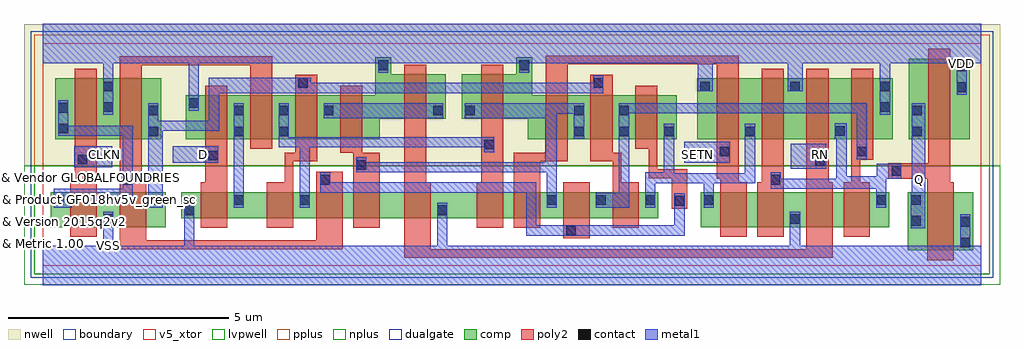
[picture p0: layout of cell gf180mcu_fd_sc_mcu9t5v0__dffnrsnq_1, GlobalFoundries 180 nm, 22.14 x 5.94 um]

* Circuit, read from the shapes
.subckt gf180mcu_fd_sc_mcu9t5v0__dffnrsnq_1 CLKN D Q RN SETN VDD VSS
XM1 VSS CLKN n1 VSUBS nfet_05v0 w=0.79u l=0.6u
XM2 n2 n1 VSS VSUBS nfet_05v0 w=0.79u l=0.6u
XM3 n3 D VSS VSUBS nfet_05v0 w=0.59u l=0.6u
XM4 n4 n2 n3 VSUBS nfet_05v0 w=0.59u l=0.6u
XM5 n5 n1 n4 VSUBS nfet_05v0 w=0.59u l=0.6u
XM6 n6 n7 n5 VSUBS nfet_05v0 w=0.59u l=0.6u
XM7 VSS RN n6 VSUBS nfet_05v0 w=0.59u l=0.6u
XM8 n8 n4 VSS VSUBS nfet_05v0 w=0.59u l=0.6u
XM9 n7 SETN n8 VSUBS nfet_05v0 w=0.59u l=0.6u
XM10 n9 n1 n7 VSUBS nfet_05v0 w=0.59u l=0.6u
XM11 n10 n2 n9 VSUBS nfet_05v0 w=0.59u l=0.6u
XM12 n11 SETN n10 VSUBS nfet_05v0 w=0.79u l=0.6u
XM13 VSS n12 n11 VSUBS nfet_05v0 w=0.79u l=0.6u
XM14 n13 RN VSS VSUBS nfet_05v0 w=0.79u l=0.6u
XM15 n12 n9 n13 VSUBS nfet_05v0 w=0.79u l=0.6u
XM16 VSS n12 Q VSUBS nfet_05v0 w=1.32u l=0.6u
XM17 VDD CLKN n1 n14 pfet_05v0 w=1.38u l=0.5u
XM18 n2 n1 VDD n14 pfet_05v0 w=1.38u l=0.5u
XM19 n3 D VDD n14 pfet_05v0 w=1u l=0.5u
XM20 n4 n1 n3 n14 pfet_05v0 w=1u l=0.5u
XM21 n15 n2 n4 n14 pfet_05v0 w=1u l=0.5u
XM22 VDD n7 n15 n14 pfet_05v0 w=1u l=0.5u
XM23 n15 RN VDD n14 pfet_05v0 w=1u l=0.5u
XM24 VDD n4 n7 n14 pfet_05v0 w=1u l=0.5u
XM25 n7 SETN VDD n14 pfet_05v0 w=1u l=0.5u
XM26 n9 n2 n7 n14 pfet_05v0 w=1u l=0.5u
XM27 n10 n1 n9 n14 pfet_05v0 w=1u l=0.5u
XM28 n10 SETN VDD n14 pfet_05v0 w=1.38u l=0.5u
XM29 VDD n12 n10 n14 pfet_05v0 w=1.38u l=0.5u
XM30 n12 RN VDD n14 pfet_05v0 w=1.38u l=0.5u
XM31 VDD n9 n12 n14 pfet_05v0 w=1.38u l=0.5u
XM32 VDD n12 Q n14 pfet_05v0 w=1.83u l=0.5u
.ends

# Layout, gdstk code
import gdstk
lib = gdstk.Library(unit=1e-6, precision=1e-09)
def R(c, l, rs):  # rectangles x0, y0, x1, y1
    for r in rs: c.add(gdstk.rectangle(r[:2], r[2:], *l))
def A(c, l, x, y, w, h, nx, ny, dx, dy):  # array of equal rectangles
    R(c, l, [(x+i*dx, y+j*dy, x+i*dx+w, y+j*dy+h) for i in range(nx) for j in range(ny)])
def P(c, l, *ps):  # polygons
    for p in ps: c.add(gdstk.Polygon(p, *l))
boundary = (0, 0)
nwell = (21, 0)
comp = (22, 0)
poly2 = (30, 0)
pplus = (31, 0)
nplus = (32, 0)
contact = (33, 0)
metal1 = (34, 0)
dualgate = (55, 0)
v5_xtor = (112, 1)
lvpwell = (204, 0)

gf180mcu_fd_sc_mcu9t5v0_ = lib.new_cell('gf180mcu_fd_sc_mcu9t5v0__dffnrsnq_1')
R(gf180mcu_fd_sc_mcu9t5v0_, boundary, [(0,0,21.28,5.04)])
R(gf180mcu_fd_sc_mcu9t5v0_, nwell, [(-0.43,2.265,21.71,5.47)])
R(gf180mcu_fd_sc_mcu9t5v0_, comp, [(19.62,0.345,21.1,1.665), (0.18,0.875,2.78,1.665), (14.92,0.875,19.2,1.665), (3.14,1.075,13.96,1.665), (0.28,2.865,2.68,4.245), (14.84,2.865,19.28,4.245), (19.64,2.865,21.02,4.695)])
P(gf180mcu_fd_sc_mcu9t5v0_, comp, [(3.24,2.865),(3.24,3.865),(7.54,3.865),(7.54,4.725),(7.9,4.725),(7.9,4.335),(9.14,4.335),(9.14,3.335),(7.64,3.335),(7.64,2.865)],
  [(11,2.865),(11,3.335),(9.5,3.335),(9.5,4.335),(10.74,4.335),(10.74,4.725),(11.1,4.725),(11.1,3.865),(14.38,3.865),(14.38,2.865)])
R(gf180mcu_fd_sc_mcu9t5v0_, poly2, [(11.8,0.615,12.4,1.885)])
P(gf180mcu_fd_sc_mcu9t5v0_, poly2, [(0.62,0.655),(0.62,1.885),(0.72,1.885),(0.72,4.465),(1.22,4.465),(1.22,0.655)],
  [(3.58,0.855),(3.58,1.885),(3.68,1.885),(3.68,4.085),(4.18,4.085),(4.18,0.855)],
  [(5.08,0.855),(5.08,1.885),(5.48,1.885),(5.48,2.565),(5.72,2.565),(5.72,4.325),(6.22,4.325),(6.22,2.365),(5.68,2.365),(5.68,0.855)],
  [(1.74,0.375),(1.74,4.745),(5.2,4.745),(5.2,2.645),(4.7,2.645),(4.7,4.545),(2.24,4.545),(2.24,1.885),(2.34,1.885),(2.34,0.575),(6.2,0.575),(6.2,2.125),(6.8,2.125),(6.8,0.375)],
  [(7.04,0.855),(7.04,2.565),(6.74,2.565),(6.74,4.085),(7.24,4.085),(7.24,2.565),(7.64,2.565),(7.64,0.855)],
  [(9.84,0.855),(9.84,1.885),(9.94,1.885),(9.94,4.555),(10.44,4.555),(10.44,0.855)],
  [(12.92,0.855),(12.92,2.365),(12.42,2.365),(12.42,4.325),(12.92,4.325),(12.92,2.565),(13.12,2.565),(13.12,1.885),(13.52,1.885),(13.52,0.855)],
  [(14.26,1.29),(14.26,1.985),(13.74,1.985),(13.74,2.645),(13.44,2.645),(13.44,4.085),(13.94,4.085),(13.94,2.185),(14.62,2.185),(14.62,1.29)],
  [(15.36,0.655),(15.36,1.965),(15.28,1.965),(15.28,4.565),(11.9,4.565),(11.9,2.365),(11.28,2.365),(11.28,0.855),(10.68,0.855),(10.68,2.565),(11.4,2.565),(11.4,4.765),(15.78,4.765),(15.78,1.885),(15.96,1.885),(15.96,0.655)],
  [(16.2,0.655),(16.2,1.885),(16.3,1.885),(16.3,4.465),(16.8,4.465),(16.8,0.655)],
  [(8.2,0.175),(8.2,4.555),(8.7,4.555),(8.7,1.885),(8.8,1.885),(8.8,0.375),(17.32,0.375),(17.32,4.465),(17.82,4.465),(17.82,1.885),(17.92,1.885),(17.92,0.175)],
  [(18.16,0.655),(18.16,1.885),(18.34,1.885),(18.34,4.465),(18.84,4.465),(18.84,2.405),(18.54,2.405),(18.54,1.885),(18.76,1.885),(18.76,0.655)],
  [(20.06,0.125),(20.06,1.965),(19.18,1.965),(19.18,2.325),(20.08,2.325),(20.08,4.915),(20.58,4.915),(20.58,1.885),(20.66,1.885),(20.66,0.125)])
R(gf180mcu_fd_sc_mcu9t5v0_, pplus, [(-0.2,2.265,21.48,5.24)])
R(gf180mcu_fd_sc_mcu9t5v0_, nplus, [(-0.2,-0.2,21.48,2.265)])
A(gf180mcu_fd_sc_mcu9t5v0_, contact, 11.43, 1.375, 0.22, 0.22, 3, 1, 1.12, 0)
A(gf180mcu_fd_sc_mcu9t5v0_, contact, 12.05, 2.935, 0.22, 0.22, 3, 1, 1.02, 0)
A(gf180mcu_fd_sc_mcu9t5v0_, contact, 4.33, 3.405, 0.22, 0.22, 3, 1, 1.02, 0)
A(gf180mcu_fd_sc_mcu9t5v0_, contact, 14.91, 3.955, 0.22, 0.22, 3, 1, 2.04, 0)
R(gf180mcu_fd_sc_mcu9t5v0_, contact, [(20.81,0.415,21.03,0.635), (11.87,0.685,12.09,0.905), (20.81,0.885,21.03,1.105), (19.69,0.905,19.91,1.125), (1.37,0.945,1.59,1.165), (16.95,0.945,17.17,1.165), (3.21,1.145,3.43,1.365), (8.95,1.145,9.17,1.365), (14.33,1.36,14.55,1.58), (0.25,1.375,0.47,1.595), (2.49,1.375,2.71,1.595), (4.33,1.375,4.55,1.595), (5.83,1.375,6.05,1.595), (14.99,1.375,15.21,1.595), (18.91,1.375,19.13,1.595), (19.69,1.375,19.91,1.595), (1.81,1.835,2.03,2.055), (6.29,1.835,6.51,2.055), (16.51,1.835,16.73,2.055), (19.25,2.035,19.47,2.255), (7.11,2.175,7.33,2.395), (17.515,2.26,17.735,2.48), (0.79,2.295,1.01,2.515), (3.75,2.39,3.97,2.61), (15.35,2.475,15.57,2.695), (18.465,2.475,18.685,2.695), (10.01,2.635,10.23,2.855), (2.39,2.935,2.61,3.155), (4.33,2.935,4.55,3.155), (5.35,2.935,5.57,3.155), (15.93,2.935,16.15,3.155), (19.71,2.935,19.93,3.155), (17.97,2.945,18.19,3.165), (0.35,3,0.57,3.22), (2.39,3.405,2.61,3.625), (8.85,3.405,9.07,3.625), (9.57,3.405,9.79,3.625), (12.05,3.405,12.27,3.625), (13.07,3.405,13.29,3.625), (19.71,3.405,19.93,3.625), (0.35,3.47,0.57,3.69), (1.37,3.485,1.59,3.705), (18.99,3.485,19.21,3.705), (3.31,3.575,3.53,3.795), (20.73,3.935,20.95,4.155), (1.37,3.955,1.59,4.175), (5.79,4.035,6.01,4.255), (12.49,4.035,12.71,4.255), (20.73,4.405,20.95,4.625), (7.61,4.435,7.83,4.655), (10.81,4.435,11.03,4.655)])
R(gf180mcu_fd_sc_mcu9t5v0_, metal1, [(4.325,1.315,4.555,3.685), (16.965,2.2,17.77,2.76), (0.71,2.235,1.575,2.71), (2.945,2.33,3.975,2.71), (14.545,2.33,15.575,2.805), (6.365,3.345,9.075,3.685)])
P(gf180mcu_fd_sc_mcu9t5v0_, metal1, [(0.245,1.315),(0.245,1.74),(1.805,1.74),(1.805,2.94),(0.345,2.94),(0.345,3.75),(0.575,3.75),(0.575,3.17),(2.035,3.17),(2.035,1.51),(0.655,1.51),(0.655,1.315)],
  [(5.825,1.315),(5.825,2.685),(5.345,2.685),(5.345,3.685),(5.575,3.685),(5.575,2.915),(10.235,2.915),(10.235,2.575),(10.005,2.575),(10.005,2.685),(6.055,2.685),(6.055,1.315)],
  [(11.425,1.315),(11.425,2.115),(7.105,2.115),(7.105,2.455),(7.335,2.455),(7.335,2.345),(11.39,2.345),(11.39,3.345),(9.565,3.345),(9.565,3.685),(12.275,3.685),(12.275,2.875),(12.045,2.875),(12.045,3.445),(11.655,3.445),(11.655,1.315)],
  [(2.385,1.315),(2.385,3.685),(2.615,3.685),(2.615,3.285),(3.765,3.285),(3.765,4.26),(6.07,4.26),(6.07,4.145),(12.485,4.145),(12.485,4.315),(12.715,4.315),(12.715,3.915),(3.995,3.915),(3.995,3.055),(2.715,3.055),(2.715,1.315)],
  [(10.965,0.68),(10.965,1.655),(6.285,1.655),(6.285,2.115),(6.515,2.115),(6.515,1.885),(11.195,1.885),(11.195,0.91),(14.325,0.91),(14.325,1.64),(14.555,1.64),(14.555,0.68)],
  [(13.665,1.315),(13.665,2.115),(14.085,2.115),(14.085,3.215),(14.315,3.215),(14.315,2.1),(15.925,2.1),(15.925,3.215),(16.155,3.215),(16.155,1.87),(15.215,1.87),(15.215,1.315),(14.985,1.315),(14.985,1.87),(13.895,1.87),(13.895,1.315)],
  [(12.545,1.315),(12.545,1.655),(13.065,1.655),(13.065,3.685),(18.69,3.685),(18.69,2.415),(18.46,2.415),(18.46,3.455),(13.295,3.455),(13.295,1.315)],
  [(18.905,1.315),(18.905,1.74),(16.505,1.74),(16.505,2.115),(16.735,2.115),(16.735,1.97),(18,1.97),(18,2.885),(17.965,2.885),(17.965,3.225),(18.23,3.225),(18.23,2.025),(18.91,2.025),(18.91,2.315),(19.475,2.315),(19.475,1.975),(19.135,1.975),(19.135,1.315)],
  [(19.685,0.845),(19.685,1.655),(19.705,1.655),(19.705,3.685),(20.01,3.685),(20.01,0.845)],
  [(0,-0.45),(0,0.45),(1.365,0.45),(1.365,1.225),(1.595,1.225),(1.595,0.45),(3.205,0.45),(3.205,1.425),(3.435,1.425),(3.435,0.45),(8.945,0.45),(8.945,1.425),(9.175,1.425),(9.175,0.45),(16.945,0.45),(16.945,1.225),(17.175,1.225),(17.175,0.45),(20.805,0.45),(20.805,1.165),(21.035,1.165),(21.035,0.45),(21.28,0.45),(21.28,-0.45)],
  [(1.365,3.425),(1.365,4.59),(0,4.59),(0,5.49),(21.28,5.49),(21.28,4.59),(20.955,4.59),(20.955,3.875),(20.725,3.875),(20.725,4.59),(19.215,4.59),(19.215,3.425),(18.985,3.425),(18.985,4.59),(17.23,4.59),(17.23,3.95),(16.89,3.95),(16.89,4.59),(15.19,4.59),(15.19,3.95),(14.85,3.95),(14.85,4.59),(11.035,4.59),(11.035,4.375),(10.805,4.375),(10.805,4.59),(7.835,4.59),(7.835,4.375),(7.605,4.375),(7.605,4.59),(3.535,4.59),(3.535,3.515),(3.305,3.515),(3.305,4.59),(1.595,4.59),(1.595,3.425)])
R(gf180mcu_fd_sc_mcu9t5v0_, dualgate, [(-0.28,-0.28,21.56,5.32)])
R(gf180mcu_fd_sc_mcu9t5v0_, v5_xtor, [(0,0,21.28,5.04)])
R(gf180mcu_fd_sc_mcu9t5v0_, lvpwell, [(-0.43,-0.43,21.71,2.265)])
gf180mcu_fd_sc_mcu9t5v0_.add(gdstk.Label('CLKN', (1.4,2.52), layer=34, texttype=10))
gf180mcu_fd_sc_mcu9t5v0_.add(gdstk.Label('D', (3.64,2.52), layer=34, texttype=10))
gf180mcu_fd_sc_mcu9t5v0_.add(gdstk.Label('Q', (19.88,1.96), layer=34, texttype=10))
gf180mcu_fd_sc_mcu9t5v0_.add(gdstk.Label('RN', (17.64,2.52), layer=34, texttype=10))
gf180mcu_fd_sc_mcu9t5v0_.add(gdstk.Label('SETN', (14.84,2.52), layer=34, texttype=10))
gf180mcu_fd_sc_mcu9t5v0_.add(gdstk.Label('VDD', (20.84,4.59), layer=34, texttype=10))
gf180mcu_fd_sc_mcu9t5v0_.add(gdstk.Label('VSS', (1.48,0.45), layer=34, texttype=10))
gf180mcu_fd_sc_mcu9t5v0_.add(gdstk.Label('& Vendor GLOBALFOUNDRIES', (0,2), layer=63, texttype=63))
gf180mcu_fd_sc_mcu9t5v0_.add(gdstk.Label('& Product GF018hv5v_green_sc9', (0,1.5), layer=63, texttype=63))
gf180mcu_fd_sc_mcu9t5v0_.add(gdstk.Label('& Version 2015q2v2', (0,1), layer=63, texttype=63))
gf180mcu_fd_sc_mcu9t5v0_.add(gdstk.Label('& Metric 1.00', (0,0.5), layer=63, texttype=63))

lib.write_gds('gf180mcu_fd_sc_mcu9t5v0__dffnrsnq_1.gds')
